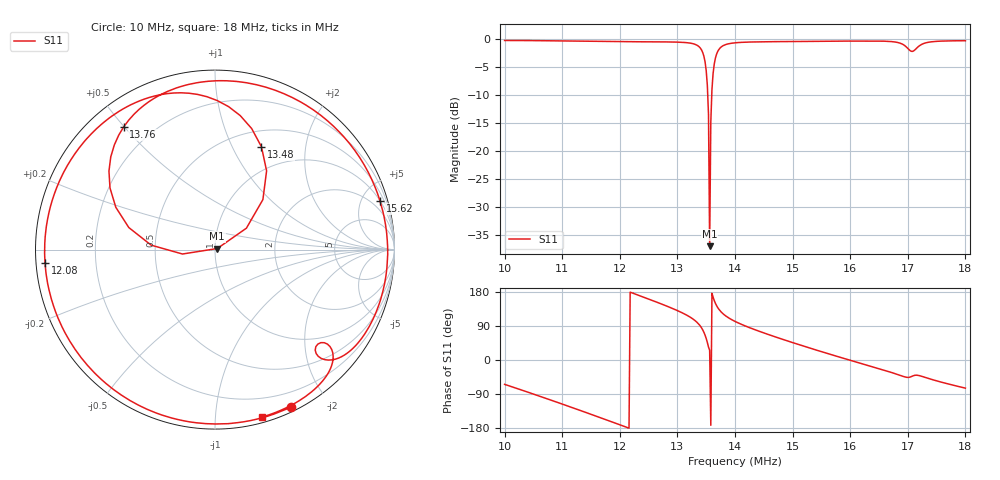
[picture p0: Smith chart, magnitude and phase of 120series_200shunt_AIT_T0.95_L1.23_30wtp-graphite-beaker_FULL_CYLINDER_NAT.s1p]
! NanoVNA Web complex sweep
! Processing: original sample grid, no browser smoothing
# Hz S RI R 50
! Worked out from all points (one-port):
!   401 points, 10 MHz to 18 MHz, reference 50 ohm
!   lowest |S11| = -36.9 dB at 13.56 MHz (marker M1), VSWR 1.03, Z = 51.3 + j0.626 ohm
!   |S11| at or under -10 dB: 13.53 MHz to 13.6 MHz (69.77 kHz wide, 0.514 % of centre)
!   S11 on the Smith chart (normalised r, x): 10 MHz: 0.05, -1.59; 12.08 MHz: 0.03, -0.04; 13.48 MHz: 0.69, +1.31; 13.76 MHz: 0.10, +0.50; 15.62 MHz: 1.01, +6.75; 18 MHz: 0.04, -1.32
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1e7  0.4234 -0.877
1.052e7  -0.0152 -0.9711
1.1e7  -0.4271 -0.8663
1.154e7  -0.7885 -0.5421
1.2e7  -0.9387 -0.1501
1.208e7  -0.9471 -0.0764
1.256e7  -0.8743 0.3638
1.3e7  -0.6098 0.7169
1.334e7  -0.1452 0.8713
1.342e7  0.0751 0.7969
1.348e7  0.2588 0.5732
1.35e7  0.2875 0.4388
1.352e7  0.2669 0.2786
1.356e7  0.0128 0.0061
1.36e7  -0.3559 0.0249
1.362e7  -0.4803 0.1229
1.364e7  -0.5527 0.2359
1.376e7  -0.5092 0.6831
1.4e7  -0.1912 0.9082
1.444e7  0.25 0.9138
1.5e7  0.6629 0.685
1.562e7  0.919 0.2723
1.6e7  0.9617 -0.0102
1.66e7  0.8516 -0.4417
1.7e7  0.5754 -0.5948
1.712e7  0.6088 -0.5187
1.73e7  0.6432 -0.6634
1.8e7  0.2622 -0.9328
